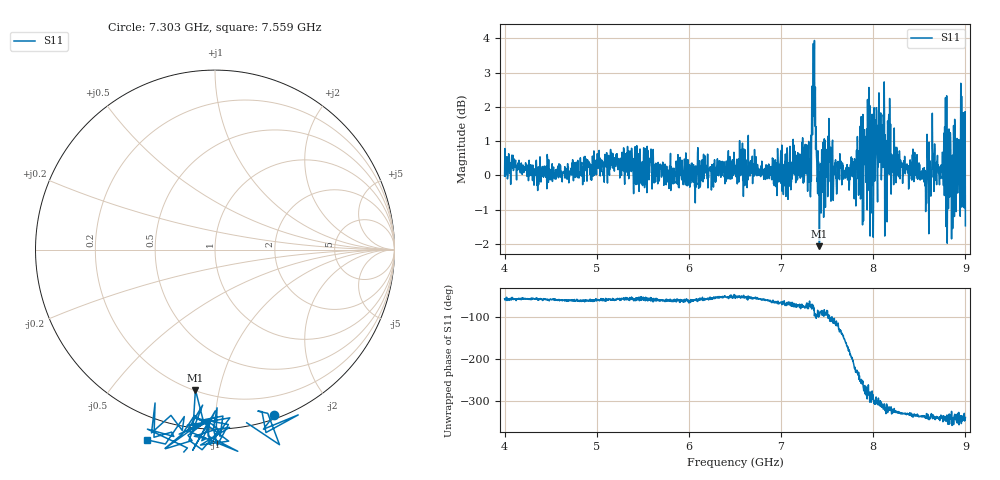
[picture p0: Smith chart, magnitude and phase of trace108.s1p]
! Created with skrf 1.8.0 (http://scikit-rf.org).
# Hz S RI R 50.0
!freq ReS11 ImS11
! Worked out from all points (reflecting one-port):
!   1601 points, 4 GHz to 9 GHz, reference 50 ohm
!   lowest |S11| = -2.1 dB at 7.416 GHz (marker M1), VSWR 8.48, Z = 10.3 - j42.4 ohm
!   phase of S11 starts at -58 deg and turns -280 deg over the sweep
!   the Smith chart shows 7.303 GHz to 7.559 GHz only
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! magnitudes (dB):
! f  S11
! 4 GHz  0.0
! 4.625 GHz  -0.2
! 5.25 GHz  -0.1
! 5.875 GHz  0.2
! 6.5 GHz  0.2
! 7.125 GHz  0.1
! 7.306 GHz  0.3
! 7.356 GHz  3.2
! 7.375 GHz  0.8
! 7.4 GHz  0.7
! 7.416 GHz  -2.1
! 7.512 GHz  1.2
! 7.591 GHz  0.5
! 7.75 GHz  -0.1
! 7.909 GHz  1.1
! 7.928 GHz  1.4
! 7.962 GHz  2.0
! 8 GHz  -1.8
! 8.097 GHz  1.4
! 8.15 GHz  -1.3
! 8.178 GHz  2.2
! 8.216 GHz  0.4
! 8.375 GHz  0.3
! 8.588 GHz  0.7
! 8.656 GHz  0.6
! 8.875 GHz  0.2
! 8.972 GHz  0.4
! 9 GHz  -1.5
